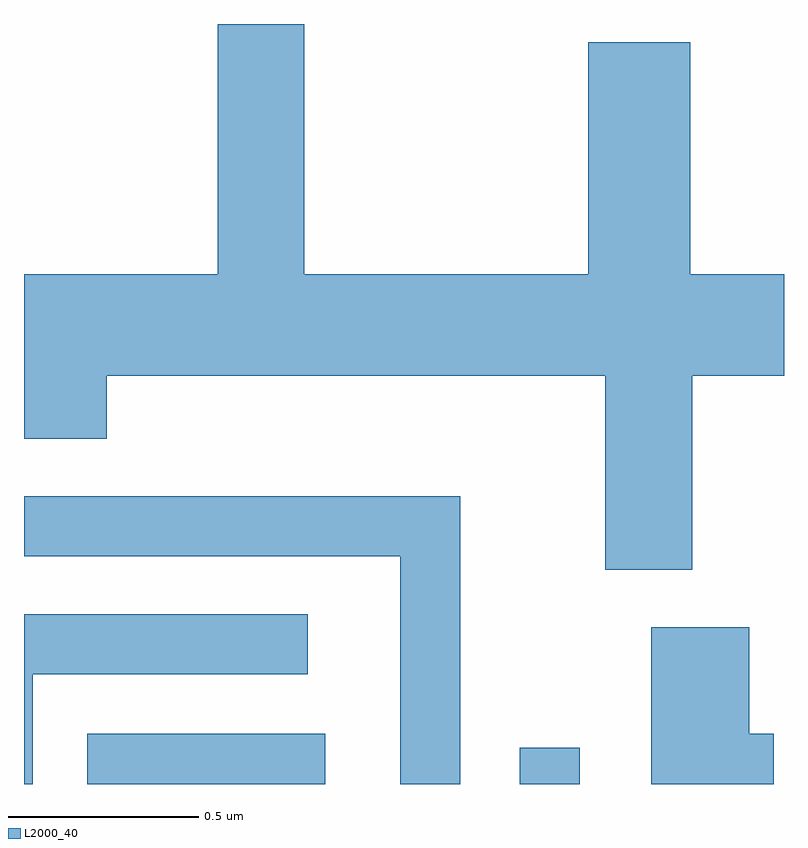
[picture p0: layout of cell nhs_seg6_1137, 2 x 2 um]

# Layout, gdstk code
import gdstk
lib = gdstk.Library(unit=1e-6, precision=1e-09)
def R(c, l, rs):  # rectangles x0, y0, x1, y1
    for r in rs: c.add(gdstk.rectangle(r[:2], r[2:], *l))
def P(c, l, *ps):  # polygons
    for p in ps: c.add(gdstk.Polygon(p, *l))
L2000_40 = (2000, 40)

nhs_seg6_1137 = lib.new_cell('nhs_seg6_1137')
R(nhs_seg6_1137, L2000_40, [(193.778,1571.162,194.404,1571.294), (194.916,1571.162,195.074,1571.258)])
P(nhs_seg6_1137, L2000_40, [(195.369,1572.236),(195.611,1572.236),(195.611,1572.504),(195.364,1572.504),(195.364,1573.114),(195.096,1573.114),(195.096,1572.504),(194.349,1572.504),(194.349,1573.162),(194.121,1573.162),(194.121,1572.504),(193.611,1572.504),(193.611,1572.071),(193.829,1572.071),(193.829,1572.236),(195.141,1572.236),(195.141,1571.726),(195.369,1571.726)],
  [(194.759,1571.919),(193.611,1571.919),(193.611,1571.761),(194.601,1571.761),(194.601,1571.162),(194.759,1571.162)],
  [(193.634,1571.451),(194.358,1571.451),(194.358,1571.609),(193.611,1571.609),(193.611,1571.162),(193.634,1571.162)],
  [(195.584,1571.294),(195.519,1571.294),(195.519,1571.574),(195.261,1571.574),(195.261,1571.162),(195.584,1571.162)])

lib.write_gds('nhs_seg6_1137.gds')
